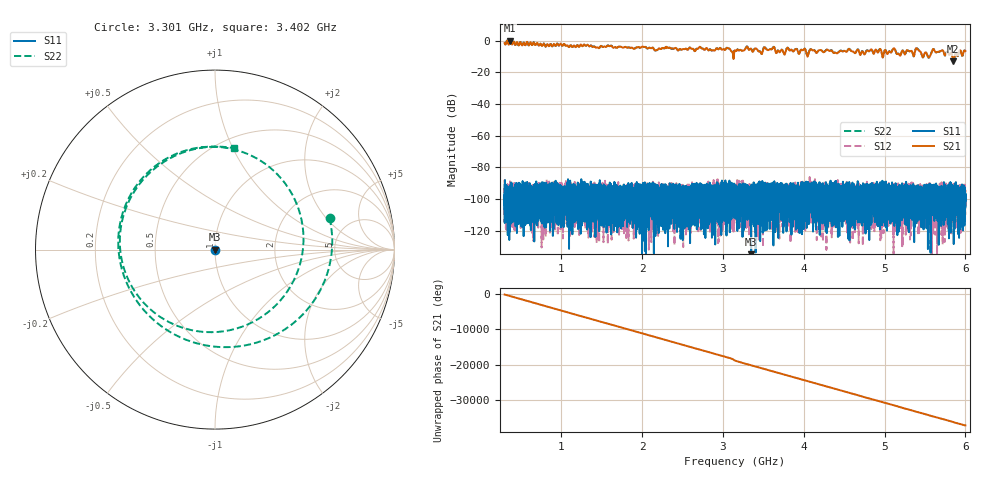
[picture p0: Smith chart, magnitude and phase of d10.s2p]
!Agilent Technologies,N5230C,SG49000117,A.08.50.07
!Agilent N5230C: A.08.50.07
!Date: Sunday, March 17, 2024 08:17:42
!Correction: S11(Off)
!S21(Off)
!S12(Off)
!S22(Off)
!S2P File: Measurements: S11, S21, S12, S22:
# Hz S  RI  R 50
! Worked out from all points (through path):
!   20001 points, 300 MHz to 6 GHz, reference 50 ohm
!   highest |S21| = 0.21 dB at 371.2 MHz (marker M1); lowest = -13.0 dB at 5.851 GHz (marker M2)
!   lowest |S11| = -144.2 dB at 3.35 GHz (marker M3), VSWR 1.00, Z = 50 + j3.24e-06 ohm
!   |S11| at or under -10 dB: start of sweep to end of sweep
!   |S22| runs from -13.1 to 0.2 dB; largest |S21 - S12| = 1
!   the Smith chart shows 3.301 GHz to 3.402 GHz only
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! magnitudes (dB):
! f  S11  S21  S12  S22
! 300 MHz  -106.3  -1.4  -105.9  -1.4
! 371.2 MHz  -103.3  0.2  -102.8  0.2
! 1.25 GHz  -95.4  -2.8  -89.7  -2.7
! 2.2 GHz  -97.4  -5.1  -101.9  -5.1
! 3.062 GHz  -97.3  -4.7  -93.5  -4.7
! 3.15 GHz  -100.6  -6.3  -95.3  -6.3
! 3.291 GHz  -96.8  -3.8  -99.5  -3.8
! 3.35 GHz  -144.2  -5.1  -101.3  -5.1
! 3.994 GHz  -99.6  -5.8  -97.5  -5.7
! 4.05 GHz  -101.5  -9.8  -105.6  -9.7
! 4.1 GHz  -90.2  -5.7  -99.5  -5.6
! 5.05 GHz  -100.3  -7.1  -96.5  -7.0
! 5.113 GHz  -96.7  -4.8  -101.6  -4.7
! 5.175 GHz  -100.9  -8.2  -104.9  -8.2
! 5.296 GHz  -92.7  -6.3  -100.3  -6.3
! 5.35 GHz  -95.2  -8.2  -102.2  -8.2
! 5.407 GHz  -109.7  -5.0  -103.8  -5.0
! 5.549 GHz  -95.7  -10.6  -100.3  -10.6
! 5.602 GHz  -104.3  -5.1  -93.4  -5.2
! 5.703 GHz  -97.3  -6.2  -99.8  -6.3
! 5.851 GHz  -101.7  -13.0  -95.1  -13.1
! 6 GHz  -101.0  -6.4  -103.3  -6.5
